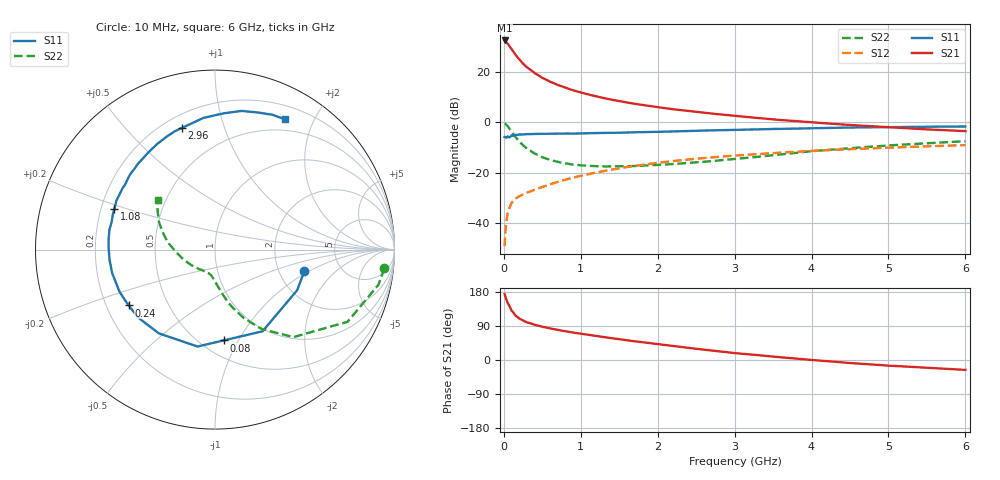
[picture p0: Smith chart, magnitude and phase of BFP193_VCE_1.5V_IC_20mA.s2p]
! Infineon Technologies  Discrete & RF Semiconductors
! BFP193
! VCE = 1.5 V,  IC =  20 mA
! Common Emitter S-Parameters:  Jan 2016
# GHz  S  MA  R  50
!  f  S11  S21  S12  S22
! GHz  MAG  ANG  MAG  ANG  MAG  ANG  MAG  ANG
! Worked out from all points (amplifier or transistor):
!   210 points, 10 MHz to 6 GHz, reference 50 ohm
!   highest |S21| = 32.4 dB at 10 MHz (marker M1)
!   |S21| within 3 dB of that: start of sweep to 90.08 MHz
!   unconditionally stable (mu >= 1): 729.5 MHz to 3.853 GHz
!   at 185 MHz: K = 0.50, MSG = 27.6 dB, |S12| = -29.6 dB
!   at 1.52 GHz: K = 1.09, MAG = 11.4 dB, |S12| = -18.2 dB
!   at 6 GHz: K = 0.93, MSG = 2.8 dB, |S12| = -9.1 dB
!   S11 on the Smith chart (normalised r, x): 10 MHz: 2.76, -0.90; 80 MHz: 0.64, -0.87; 240 MHz: 0.29, -0.27; 1.08 GHz: 0.25, +0.18; 2.96 GHz: 0.27, +0.73; 6 GHz: 0.36, +1.62
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0.01  0.5119 -13.6  41.8 174.0  0.0035 86.2  0.9497 -6.3
0.02  0.5106 -26.3  40.26 166.6  0.0068 79.0  0.931 -12.2
0.05  0.5266 -59.8  36.36 150.2  0.0159 68.6  0.8409 -28.6
0.08  0.5083 -84.6  31.07 139.5  0.0214 59.3  0.7189 -39.1
0.1  0.5487 -100.2  28.32 130.4  0.0252 55.4  0.6551 -48.1
0.15  0.5619 -123.9  21.79 117.6  0.0303 50.0  0.514 -59.5
0.2  0.5721 -138.8  17.58 109.4  0.0342 48.1  0.4162 -67.0
0.24  0.5726 -147.1  15.04 104.9  0.0365 47.9  0.3605 -71.1
0.3  0.5815 -156.3  12.29 99.3  0.0402 49.0  0.3025 -76.2
0.4  0.5879 -167.1  9.45 92.9  0.0459 50.5  0.2395 -81.6
0.5  0.5903 -174.4  7.6 87.8  0.0521 52.8  0.2024 -85.9
0.6  0.5927 179.3  6.383 83.3  0.0588 54.9  0.1792 -89.5
0.7  0.5957 174.0  5.501 79.2  0.0657 55.5  0.1637 -92.8
1.02  0.6026 160.1  3.816 68.7  0.0881 56.5  0.1395 -101.9
1.08  0.6051 157.9  3.613 66.9  0.0925 56.5  0.1377 -103.8
1.4  0.6185 147.0  2.797 57.6  0.1148 54.7  0.1337 -113.1
2.02  0.6474 128.6  1.969 41.3  0.1584 49.2  0.1429 -133.0
2.96  0.7026 105.4  1.356 19.2  0.2161 38.4  0.1845 -163.2
3.1  0.7094 102.6  1.295 16.5  0.2235 36.7  0.1931 -167.4
4.1  0.7649 84.9  0.972 -1.5  0.2753 25.3  0.2742 169.0
5.1  0.8027 71.5  0.783 -15.9  0.3176 14.3  0.3542 152.2
6  0.8238 61.7  0.668 -26.1  0.3527 4.7  0.4206 139.4
